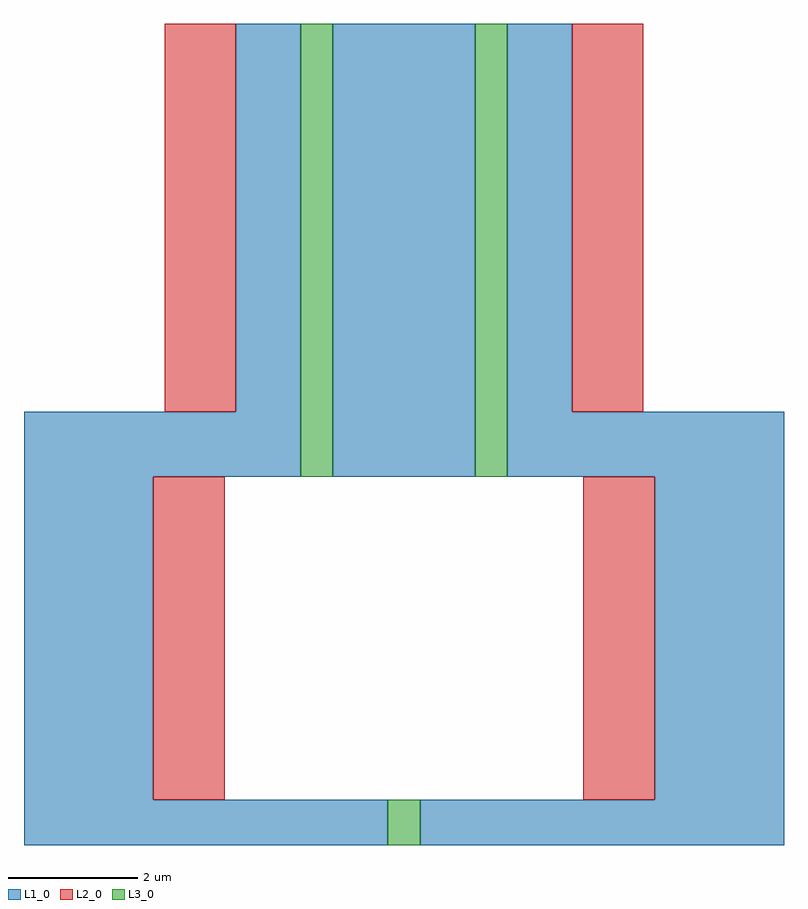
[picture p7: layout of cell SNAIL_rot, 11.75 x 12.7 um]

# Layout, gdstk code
import gdstk
lib = gdstk.Library(unit=1e-6, precision=1e-09)
def R(c, l, rs):  # rectangles x0, y0, x1, y1
    for r in rs: c.add(gdstk.rectangle(r[:2], r[2:], *l))
def P(c, l, *ps):  # polygons
    for p in ps: c.add(gdstk.Polygon(p, *l))
L1_0 = (1, 0)
L2_0 = (2, 0)
L3_0 = (3, 0)

snail_rot = lib.new_cell('SNAIL_rot')
R(snail_rot, L1_0, [(4.775,5.7,6.975,12.7)])
P(snail_rot, L1_0, [(0,0),(0,6.7),(3.275,6.7),(3.275,12.7),(4.275,12.7),(4.275,5.7),(2,5.7),(2,0.7),(5.625,0.7),(5.625,0),(4.625,0),(4.625,0)],
  [(11.75,0),(11.75,6.7),(8.475,6.7),(8.475,12.7),(7.475,12.7),(7.475,5.7),(9.75,5.7),(9.75,0.7),(6.125,0.7),(6.125,0),(7.125,0),(7.125,0)])
R(snail_rot, L2_0, [(2,0.7,3.1,5.7), (8.65,0.7,9.75,5.7), (2.175,6.7,3.275,12.7), (8.475,6.7,9.575,12.7)])
R(snail_rot, L3_0, [(5.625,0,6.125,0.7), (4.275,5.7,4.775,12.7), (6.975,5.7,7.475,12.7)])

lib.write_gds('SNAIL_rot.gds')
